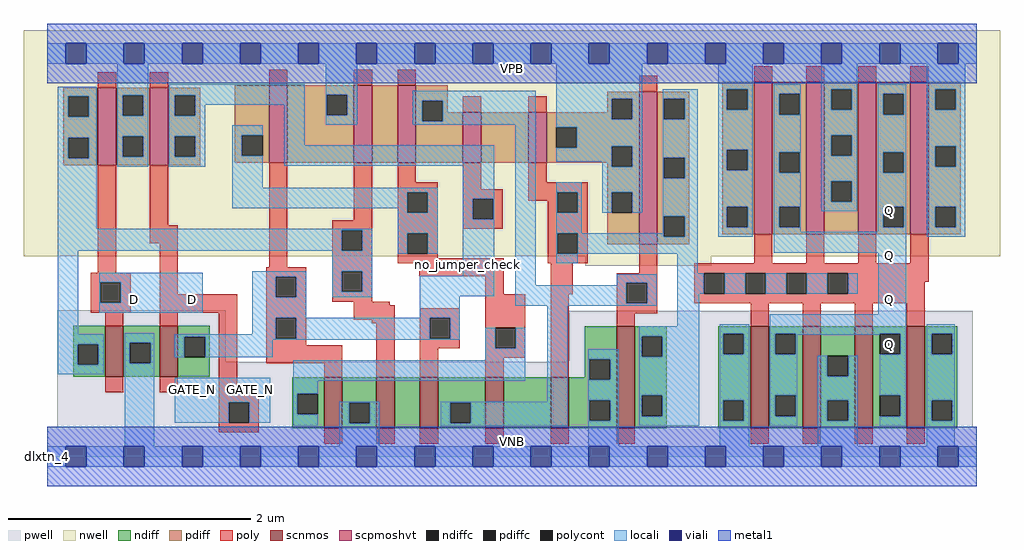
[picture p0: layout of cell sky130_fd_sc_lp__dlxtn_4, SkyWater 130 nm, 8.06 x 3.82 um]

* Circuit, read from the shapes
.subckt sky130_fd_sc_lp__dlxtn_4 D GATE_N VGND VNB VPB VPWR Q
XM1 VGND D n1 VNB sky130_fd_pr__nfet_01v8 w=0.42 l=0.15
XM2 n2 GATE_N VGND VNB sky130_fd_pr__nfet_01v8 w=0.42 l=0.15
XM3 VGND n2 n3 VNB sky130_fd_pr__nfet_01v8 w=0.42 l=0.15
XM4 n4 n1 VGND VNB sky130_fd_pr__nfet_01v8 w=0.42 l=0.15
XM5 n5 n2 n4 VNB sky130_fd_pr__nfet_01v8 w=0.42 l=0.15
XM6 n6 n3 n5 VNB sky130_fd_pr__nfet_01v8 w=0.42 l=0.15
XM7 VGND n7 n6 VNB sky130_fd_pr__nfet_01v8 w=0.42 l=0.15
XM8 n7 n5 VGND VNB sky130_fd_pr__nfet_01v8 w=0.84 l=0.15
XM9 Q n7 VGND VNB sky130_fd_pr__nfet_01v8 w=0.84 l=0.15 m=4
XM10 VPWR D n1 VPB sky130_fd_pr__pfet_01v8_hvt w=0.64 l=0.15
XM11 n2 GATE_N VPWR VPB sky130_fd_pr__pfet_01v8_hvt w=0.64 l=0.15
XM12 VPWR n2 n3 VPB sky130_fd_pr__pfet_01v8_hvt w=0.64 l=0.15
XM13 n8 n1 VPWR VPB sky130_fd_pr__pfet_01v8_hvt w=0.64 l=0.15
XM14 n5 n3 n8 VPB sky130_fd_pr__pfet_01v8_hvt w=0.64 l=0.15
XM15 n9 n2 n5 VPB sky130_fd_pr__pfet_01v8_hvt w=0.42 l=0.15
XM16 VPWR n7 n9 VPB sky130_fd_pr__pfet_01v8_hvt w=0.42 l=0.15
XM17 n7 n5 VPWR VPB sky130_fd_pr__pfet_01v8_hvt w=1.26 l=0.15
XM18 Q n7 VPWR VPB sky130_fd_pr__pfet_01v8_hvt w=1.26 l=0.15 m=4
.ends

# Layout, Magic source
magic
tech sky130A
magscale 1 2
<< nwell >>
rect -38 331 1574 704
rect 889 315 1097 331
<< pwell >>
rect 17 157 295 242
rect 862 157 1529 241
rect 17 49 1529 157
rect 0 0 1536 49
<< scnmos >>
rect 96 132 126 216
rect 186 132 216 216
rect 458 47 488 131
rect 544 47 574 131
rect 616 47 646 131
rect 724 47 754 131
rect 832 47 862 131
rect 941 47 971 215
rect 1162 47 1192 215
rect 1248 47 1278 215
rect 1334 47 1364 215
rect 1420 47 1450 215
<< scpmoshvt >>
rect 84 481 114 609
rect 170 481 200 609
rect 367 485 397 613
rect 507 485 537 613
rect 579 485 609 613
rect 687 485 717 569
rect 795 485 825 569
rect 978 351 1008 603
rect 1168 367 1198 619
rect 1254 367 1284 619
rect 1340 367 1370 619
rect 1426 367 1456 619
<< ndiff >>
rect 43 186 96 216
rect 43 152 51 186
rect 85 152 96 186
rect 43 132 96 152
rect 126 188 186 216
rect 126 154 137 188
rect 171 154 186 188
rect 126 132 186 154
rect 216 198 269 216
rect 216 164 227 198
rect 261 164 269 198
rect 216 132 269 164
rect 888 161 941 215
rect 888 131 896 161
rect 405 104 458 131
rect 405 70 413 104
rect 447 70 458 104
rect 405 47 458 70
rect 488 89 544 131
rect 488 55 499 89
rect 533 55 544 89
rect 488 47 544 55
rect 574 47 616 131
rect 646 89 724 131
rect 646 55 666 89
rect 700 55 724 89
rect 646 47 724 55
rect 754 47 832 131
rect 862 127 896 131
rect 930 127 941 161
rect 862 93 941 127
rect 862 59 896 93
rect 930 59 941 93
rect 862 47 941 59
rect 971 199 1024 215
rect 971 165 982 199
rect 1016 165 1024 199
rect 971 101 1024 165
rect 971 67 982 101
rect 1016 67 1024 101
rect 971 47 1024 67
rect 1109 203 1162 215
rect 1109 169 1117 203
rect 1151 169 1162 203
rect 1109 93 1162 169
rect 1109 59 1117 93
rect 1151 59 1162 93
rect 1109 47 1162 59
rect 1192 203 1248 215
rect 1192 169 1203 203
rect 1237 169 1248 203
rect 1192 101 1248 169
rect 1192 67 1203 101
rect 1237 67 1248 101
rect 1192 47 1248 67
rect 1278 167 1334 215
rect 1278 133 1289 167
rect 1323 133 1334 167
rect 1278 93 1334 133
rect 1278 59 1289 93
rect 1323 59 1334 93
rect 1278 47 1334 59
rect 1364 203 1420 215
rect 1364 169 1375 203
rect 1409 169 1420 203
rect 1364 101 1420 169
rect 1364 67 1375 101
rect 1409 67 1420 101
rect 1364 47 1420 67
rect 1450 203 1503 215
rect 1450 169 1461 203
rect 1495 169 1503 203
rect 1450 93 1503 169
rect 1450 59 1461 93
rect 1495 59 1503 93
rect 1450 47 1503 59
<< pdiff >>
rect 27 595 84 609
rect 27 561 35 595
rect 69 561 84 595
rect 27 527 84 561
rect 27 493 35 527
rect 69 493 84 527
rect 27 481 84 493
rect 114 597 170 609
rect 114 563 125 597
rect 159 563 170 597
rect 114 529 170 563
rect 114 495 125 529
rect 159 495 170 529
rect 114 481 170 495
rect 200 597 253 609
rect 200 563 211 597
rect 245 563 253 597
rect 200 529 253 563
rect 200 495 211 529
rect 245 495 253 529
rect 200 481 253 495
rect 310 531 367 613
rect 310 497 322 531
rect 356 497 367 531
rect 310 485 367 497
rect 397 598 507 613
rect 397 564 462 598
rect 496 564 507 598
rect 397 485 507 564
rect 537 485 579 613
rect 609 588 662 613
rect 1115 607 1168 619
rect 609 554 620 588
rect 654 569 662 588
rect 925 591 978 603
rect 925 569 933 591
rect 654 554 687 569
rect 609 485 687 554
rect 717 485 795 569
rect 825 557 933 569
rect 967 557 978 591
rect 825 544 978 557
rect 825 510 841 544
rect 875 513 978 544
rect 875 510 933 513
rect 825 485 933 510
rect 925 479 933 485
rect 967 479 978 513
rect 925 437 978 479
rect 925 403 933 437
rect 967 403 978 437
rect 925 351 978 403
rect 1008 591 1061 603
rect 1008 557 1019 591
rect 1053 557 1061 591
rect 1008 494 1061 557
rect 1008 460 1019 494
rect 1053 460 1061 494
rect 1008 397 1061 460
rect 1008 363 1019 397
rect 1053 363 1061 397
rect 1115 573 1123 607
rect 1157 573 1168 607
rect 1115 507 1168 573
rect 1115 473 1123 507
rect 1157 473 1168 507
rect 1115 413 1168 473
rect 1115 379 1123 413
rect 1157 379 1168 413
rect 1115 367 1168 379
rect 1198 599 1254 619
rect 1198 565 1209 599
rect 1243 565 1254 599
rect 1198 503 1254 565
rect 1198 469 1209 503
rect 1243 469 1254 503
rect 1198 413 1254 469
rect 1198 379 1209 413
rect 1243 379 1254 413
rect 1198 367 1254 379
rect 1284 607 1340 619
rect 1284 573 1295 607
rect 1329 573 1340 607
rect 1284 531 1340 573
rect 1284 497 1295 531
rect 1329 497 1340 531
rect 1284 455 1340 497
rect 1284 421 1295 455
rect 1329 421 1340 455
rect 1284 367 1340 421
rect 1370 599 1426 619
rect 1370 565 1381 599
rect 1415 565 1426 599
rect 1370 503 1426 565
rect 1370 469 1381 503
rect 1415 469 1426 503
rect 1370 413 1426 469
rect 1370 379 1381 413
rect 1415 379 1426 413
rect 1370 367 1426 379
rect 1456 607 1509 619
rect 1456 573 1467 607
rect 1501 573 1509 607
rect 1456 513 1509 573
rect 1456 479 1467 513
rect 1501 479 1509 513
rect 1456 413 1509 479
rect 1456 379 1467 413
rect 1501 379 1509 413
rect 1456 367 1509 379
rect 1008 351 1061 363
<< ndiffc >>
rect 51 152 85 186
rect 137 154 171 188
rect 227 164 261 198
rect 413 70 447 104
rect 499 55 533 89
rect 666 55 700 89
rect 896 127 930 161
rect 896 59 930 93
rect 982 165 1016 199
rect 982 67 1016 101
rect 1117 169 1151 203
rect 1117 59 1151 93
rect 1203 169 1237 203
rect 1203 67 1237 101
rect 1289 133 1323 167
rect 1289 59 1323 93
rect 1375 169 1409 203
rect 1375 67 1409 101
rect 1461 169 1495 203
rect 1461 59 1495 93
<< pdiffc >>
rect 35 561 69 595
rect 35 493 69 527
rect 125 563 159 597
rect 125 495 159 529
rect 211 563 245 597
rect 211 495 245 529
rect 322 497 356 531
rect 462 564 496 598
rect 620 554 654 588
rect 933 557 967 591
rect 841 510 875 544
rect 933 479 967 513
rect 933 403 967 437
rect 1019 557 1053 591
rect 1019 460 1053 494
rect 1019 363 1053 397
rect 1123 573 1157 607
rect 1123 473 1157 507
rect 1123 379 1157 413
rect 1209 565 1243 599
rect 1209 469 1243 503
rect 1209 379 1243 413
rect 1295 573 1329 607
rect 1295 497 1329 531
rect 1295 421 1329 455
rect 1381 565 1415 599
rect 1381 469 1415 503
rect 1381 379 1415 413
rect 1467 573 1501 607
rect 1467 479 1501 513
rect 1467 379 1501 413
<< poly >>
rect 84 609 114 635
rect 170 609 200 635
rect 367 613 397 639
rect 507 613 537 639
rect 579 613 609 639
rect 978 603 1008 629
rect 1168 619 1198 645
rect 1254 619 1284 645
rect 1340 619 1370 645
rect 1426 619 1456 645
rect 687 569 717 595
rect 795 569 825 595
rect 84 304 114 481
rect 170 382 200 481
rect 170 352 216 382
rect 72 288 138 304
rect 72 254 88 288
rect 122 254 138 288
rect 72 238 138 254
rect 186 268 216 352
rect 367 313 397 485
rect 507 390 537 485
rect 471 374 537 390
rect 471 340 487 374
rect 521 340 537 374
rect 362 297 428 313
rect 186 238 314 268
rect 96 216 126 238
rect 186 216 216 238
rect 96 106 126 132
rect 186 106 216 132
rect 284 106 314 238
rect 362 263 378 297
rect 412 263 428 297
rect 362 229 428 263
rect 471 306 537 340
rect 579 453 609 485
rect 579 437 645 453
rect 579 403 595 437
rect 629 403 645 437
rect 579 369 645 403
rect 687 442 717 485
rect 795 453 825 485
rect 687 426 753 442
rect 687 392 703 426
rect 737 392 753 426
rect 795 437 893 453
rect 795 423 843 437
rect 687 376 753 392
rect 827 403 843 423
rect 877 403 893 437
rect 579 335 595 369
rect 629 335 645 369
rect 579 328 645 335
rect 827 369 893 403
rect 827 335 843 369
rect 877 335 893 369
rect 579 319 754 328
rect 827 319 893 335
rect 471 272 487 306
rect 521 272 537 306
rect 615 298 754 319
rect 471 256 537 272
rect 724 268 754 298
rect 832 268 868 319
rect 978 303 1008 351
rect 1168 319 1198 367
rect 1254 319 1284 367
rect 1340 319 1370 367
rect 1426 319 1456 367
rect 941 287 1008 303
rect 362 195 378 229
rect 412 195 428 229
rect 507 250 566 256
rect 507 226 574 250
rect 536 220 574 226
rect 362 184 428 195
rect 362 154 488 184
rect 458 131 488 154
rect 544 131 574 220
rect 616 229 682 245
rect 616 195 632 229
rect 666 195 682 229
rect 616 179 682 195
rect 724 213 790 268
rect 724 179 740 213
rect 774 179 790 213
rect 616 131 646 179
rect 724 163 790 179
rect 724 131 754 163
rect 832 131 862 268
rect 941 253 957 287
rect 991 253 1008 287
rect 1069 303 1456 319
rect 1069 269 1085 303
rect 1119 269 1153 303
rect 1187 269 1221 303
rect 1255 269 1289 303
rect 1323 289 1456 303
rect 1323 269 1450 289
rect 1069 253 1450 269
rect 941 237 1008 253
rect 941 215 971 237
rect 1162 215 1192 253
rect 1248 215 1278 253
rect 1334 215 1364 253
rect 1420 215 1450 253
rect 284 90 350 106
rect 284 56 300 90
rect 334 56 350 90
rect 284 40 350 56
rect 458 21 488 47
rect 544 21 574 47
rect 616 21 646 47
rect 724 21 754 47
rect 832 21 862 47
rect 941 21 971 47
rect 1162 21 1192 47
rect 1248 21 1278 47
rect 1334 21 1364 47
rect 1420 21 1450 47
<< polycont >>
rect 88 254 122 288
rect 487 340 521 374
rect 378 263 412 297
rect 595 403 629 437
rect 703 392 737 426
rect 843 403 877 437
rect 595 335 629 369
rect 843 335 877 369
rect 487 272 521 306
rect 378 195 412 229
rect 632 195 666 229
rect 740 179 774 213
rect 957 253 991 287
rect 1085 269 1119 303
rect 1153 269 1187 303
rect 1221 269 1255 303
rect 1289 269 1323 303
rect 300 56 334 90
<< locali >>
rect 0 649 31 683
rect 65 649 127 683
rect 161 649 223 683
rect 257 649 319 683
rect 353 649 415 683
rect 449 649 511 683
rect 545 649 607 683
rect 641 649 703 683
rect 737 649 799 683
rect 833 649 895 683
rect 929 649 991 683
rect 1025 649 1087 683
rect 1121 649 1183 683
rect 1217 649 1279 683
rect 1313 649 1375 683
rect 1409 649 1471 683
rect 1505 649 1536 683
rect 18 595 82 611
rect 18 561 35 595
rect 69 561 82 595
rect 18 527 82 561
rect 18 493 35 527
rect 69 493 82 527
rect 18 376 82 493
rect 116 597 167 649
rect 116 563 125 597
rect 159 563 167 597
rect 116 529 167 563
rect 116 495 125 529
rect 159 495 167 529
rect 116 479 167 495
rect 201 597 426 615
rect 201 563 211 597
rect 245 581 426 597
rect 245 563 261 581
rect 201 529 261 563
rect 201 495 211 529
rect 245 495 261 529
rect 201 479 261 495
rect 306 531 356 547
rect 306 497 322 531
rect 306 444 356 497
rect 392 514 426 581
rect 460 598 512 649
rect 460 564 462 598
rect 496 564 512 598
rect 460 548 512 564
rect 604 588 807 604
rect 604 554 620 588
rect 654 554 807 588
rect 604 548 807 554
rect 392 480 739 514
rect 306 437 645 444
rect 306 410 595 437
rect 579 403 595 410
rect 629 403 645 437
rect 18 374 537 376
rect 18 340 487 374
rect 521 340 537 374
rect 18 202 52 340
rect 471 306 537 340
rect 579 369 645 403
rect 579 335 595 369
rect 629 335 645 369
rect 687 426 739 480
rect 687 392 703 426
rect 737 392 739 426
rect 86 288 257 304
rect 86 254 88 288
rect 122 254 257 288
rect 86 238 257 254
rect 339 297 428 306
rect 339 263 378 297
rect 412 263 428 297
rect 471 272 487 306
rect 521 272 537 306
rect 687 299 739 392
rect 471 263 537 272
rect 616 265 739 299
rect 773 283 807 548
rect 841 591 983 649
rect 1109 607 1166 649
rect 841 557 933 591
rect 967 557 983 591
rect 841 544 983 557
rect 875 513 983 544
rect 875 510 933 513
rect 841 487 933 510
rect 917 479 933 487
rect 967 479 983 513
rect 841 437 883 453
rect 841 403 843 437
rect 877 403 883 437
rect 917 437 983 479
rect 917 403 933 437
rect 967 403 983 437
rect 1017 591 1075 607
rect 1017 557 1019 591
rect 1053 557 1075 591
rect 1017 494 1075 557
rect 1017 460 1019 494
rect 1053 460 1075 494
rect 841 369 883 403
rect 1017 397 1075 460
rect 1017 369 1019 397
rect 841 335 843 369
rect 877 363 1019 369
rect 1053 363 1075 397
rect 1109 573 1123 607
rect 1157 573 1166 607
rect 1109 507 1166 573
rect 1109 473 1123 507
rect 1157 473 1166 507
rect 1109 413 1166 473
rect 1109 379 1123 413
rect 1157 379 1166 413
rect 1109 363 1166 379
rect 1200 599 1245 615
rect 1200 565 1209 599
rect 1243 565 1245 599
rect 1200 503 1245 565
rect 1200 469 1209 503
rect 1243 469 1245 503
rect 1200 413 1245 469
rect 1200 379 1209 413
rect 1243 379 1245 413
rect 1279 607 1338 649
rect 1279 573 1295 607
rect 1329 573 1338 607
rect 1279 531 1338 573
rect 1279 497 1295 531
rect 1329 497 1338 531
rect 1279 455 1338 497
rect 1279 421 1295 455
rect 1329 421 1338 455
rect 1279 405 1338 421
rect 1372 599 1419 615
rect 1372 565 1381 599
rect 1415 565 1419 599
rect 1372 503 1419 565
rect 1372 469 1381 503
rect 1415 469 1419 503
rect 1372 413 1419 469
rect 1200 371 1245 379
rect 1372 379 1381 413
rect 1415 379 1419 413
rect 1372 371 1419 379
rect 877 335 1075 363
rect 1200 337 1419 371
rect 1453 607 1517 649
rect 1453 573 1467 607
rect 1501 573 1517 607
rect 1453 513 1517 573
rect 1453 479 1467 513
rect 1501 479 1517 513
rect 1453 413 1517 479
rect 1453 379 1467 413
rect 1501 379 1517 413
rect 1453 363 1517 379
rect 841 319 877 335
rect 1041 303 1075 335
rect 941 287 1007 301
rect 941 283 957 287
rect 339 229 428 263
rect 616 229 682 265
rect 773 253 957 283
rect 991 253 1007 287
rect 773 249 1007 253
rect 1041 269 1085 303
rect 1119 269 1153 303
rect 1187 269 1221 303
rect 1255 269 1289 303
rect 1323 269 1339 303
rect 18 186 94 202
rect 18 152 51 186
rect 85 152 94 186
rect 18 136 94 152
rect 128 188 177 204
rect 339 202 378 229
rect 128 154 137 188
rect 171 154 177 188
rect 211 198 378 202
rect 211 164 227 198
rect 261 195 378 198
rect 412 195 632 229
rect 666 195 682 229
rect 261 193 682 195
rect 261 164 373 193
rect 724 179 740 213
rect 774 179 790 213
rect 724 159 790 179
rect 128 17 177 154
rect 211 90 369 130
rect 211 56 300 90
rect 334 56 369 90
rect 407 125 790 159
rect 407 104 447 125
rect 407 70 413 104
rect 826 91 860 249
rect 1041 215 1077 269
rect 1373 235 1419 337
rect 978 199 1077 215
rect 407 51 447 70
rect 483 89 549 91
rect 483 55 499 89
rect 533 55 549 89
rect 483 17 549 55
rect 650 89 860 91
rect 650 55 666 89
rect 700 55 860 89
rect 650 51 860 55
rect 894 161 944 177
rect 894 127 896 161
rect 930 127 944 161
rect 894 93 944 127
rect 894 59 896 93
rect 930 59 944 93
rect 894 17 944 59
rect 978 165 982 199
rect 1016 165 1077 199
rect 978 101 1077 165
rect 978 67 982 101
rect 1016 67 1077 101
rect 978 51 1077 67
rect 1111 203 1160 219
rect 1111 169 1117 203
rect 1151 169 1160 203
rect 1111 93 1160 169
rect 1111 59 1117 93
rect 1151 59 1160 93
rect 1111 17 1160 59
rect 1194 203 1419 235
rect 1194 169 1203 203
rect 1237 201 1375 203
rect 1237 169 1239 201
rect 1194 101 1239 169
rect 1409 169 1419 203
rect 1194 67 1203 101
rect 1237 67 1239 101
rect 1194 51 1239 67
rect 1273 133 1289 167
rect 1323 133 1339 167
rect 1273 93 1339 133
rect 1273 59 1289 93
rect 1323 59 1339 93
rect 1273 17 1339 59
rect 1375 101 1419 169
rect 1409 67 1419 101
rect 1375 51 1419 67
rect 1453 203 1499 219
rect 1453 169 1461 203
rect 1495 169 1499 203
rect 1453 93 1499 169
rect 1453 59 1461 93
rect 1495 59 1499 93
rect 1453 17 1499 59
rect 0 -17 31 17
rect 65 -17 127 17
rect 161 -17 223 17
rect 257 -17 319 17
rect 353 -17 415 17
rect 449 -17 511 17
rect 545 -17 607 17
rect 641 -17 703 17
rect 737 -17 799 17
rect 833 -17 895 17
rect 929 -17 991 17
rect 1025 -17 1087 17
rect 1121 -17 1183 17
rect 1217 -17 1279 17
rect 1313 -17 1375 17
rect 1409 -17 1471 17
rect 1505 -17 1536 17
<< viali >>
rect 31 649 65 683
rect 127 649 161 683
rect 223 649 257 683
rect 319 649 353 683
rect 415 649 449 683
rect 511 649 545 683
rect 607 649 641 683
rect 703 649 737 683
rect 799 649 833 683
rect 895 649 929 683
rect 991 649 1025 683
rect 1087 649 1121 683
rect 1183 649 1217 683
rect 1279 649 1313 683
rect 1375 649 1409 683
rect 1471 649 1505 683
rect 31 -17 65 17
rect 127 -17 161 17
rect 223 -17 257 17
rect 319 -17 353 17
rect 415 -17 449 17
rect 511 -17 545 17
rect 607 -17 641 17
rect 703 -17 737 17
rect 799 -17 833 17
rect 895 -17 929 17
rect 991 -17 1025 17
rect 1087 -17 1121 17
rect 1183 -17 1217 17
rect 1279 -17 1313 17
rect 1375 -17 1409 17
rect 1471 -17 1505 17
<< metal1 >>
rect 0 683 1536 715
rect 0 649 31 683
rect 65 649 127 683
rect 161 649 223 683
rect 257 649 319 683
rect 353 649 415 683
rect 449 649 511 683
rect 545 649 607 683
rect 641 649 703 683
rect 737 649 799 683
rect 833 649 895 683
rect 929 649 991 683
rect 1025 649 1087 683
rect 1121 649 1183 683
rect 1217 649 1279 683
rect 1313 649 1375 683
rect 1409 649 1471 683
rect 1505 649 1536 683
rect 0 617 1536 649
rect 0 17 1536 49
rect 0 -17 31 17
rect 65 -17 127 17
rect 161 -17 223 17
rect 257 -17 319 17
rect 353 -17 415 17
rect 449 -17 511 17
rect 545 -17 607 17
rect 641 -17 703 17
rect 737 -17 799 17
rect 833 -17 895 17
rect 929 -17 991 17
rect 1025 -17 1087 17
rect 1121 -17 1183 17
rect 1217 -17 1279 17
rect 1313 -17 1375 17
rect 1409 -17 1471 17
rect 1505 -17 1536 17
rect 0 -49 1536 -17
<< labels >>
flabel pwell s 0 0 1536 49 0 FreeSans 200 0 0 0 VNB
port 4 nsew ground bidirectional
flabel nwell s 0 617 1536 666 0 FreeSans 200 0 0 0 VPB
port 5 nsew power bidirectional
rlabel comment s 0 0 0 0 4 dlxtn_4
flabel comment s 695 317 695 317 0 FreeSans 200 0 0 0 no_jumper_check
flabel metal1 s 0 617 1536 666 0 FreeSans 340 0 0 0 VPWR
port 6 nsew power bidirectional
flabel metal1 s 0 0 1536 49 0 FreeSans 340 0 0 0 VGND
port 3 nsew ground bidirectional
flabel locali s 127 242 161 276 0 FreeSans 340 0 0 0 D
port 1 nsew signal input
flabel locali s 223 242 257 276 0 FreeSans 340 0 0 0 D
port 1 nsew signal input
flabel locali s 1375 168 1409 202 0 FreeSans 340 0 0 0 Q
port 7 nsew signal output
flabel locali s 1375 242 1409 276 0 FreeSans 340 0 0 0 Q
port 7 nsew signal output
flabel locali s 1375 316 1409 350 0 FreeSans 340 0 0 0 Q
port 7 nsew signal output
flabel locali s 1375 390 1409 424 0 FreeSans 340 0 0 0 Q
port 7 nsew signal output
flabel locali s 223 94 257 128 0 FreeSans 340 0 0 0 GATE_N
port 2 nsew clock input
flabel locali s 319 94 353 128 0 FreeSans 340 0 0 0 GATE_N
port 2 nsew clock input
<< properties >>
string LEFsite unit
string LEFclass CORE
string FIXED_BBOX 0 0 1536 666
string GDS_FILE $PDKPATH/libs.ref/sky130_fd_sc_lp/gds/sky130_fd_sc_lp.gds
string LEFsymmetry X Y R90
string GDS_END 614594
string GDS_START 601744
<< end >>
